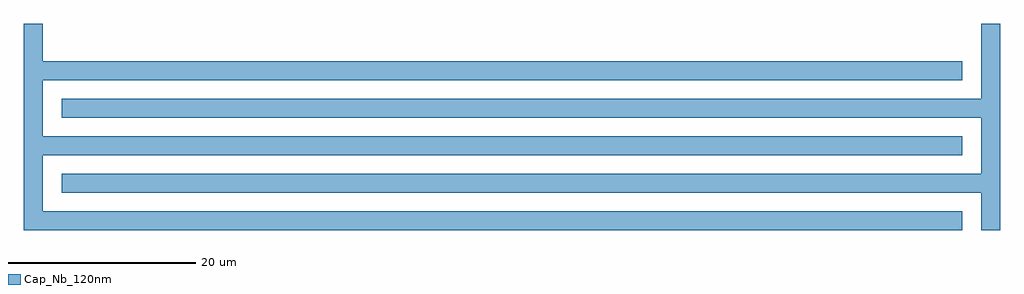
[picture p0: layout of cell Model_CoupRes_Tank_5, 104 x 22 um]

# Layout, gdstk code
import gdstk
lib = gdstk.Library(unit=1e-6, precision=1e-09)
def R(c, l, rs):  # rectangles x0, y0, x1, y1
    for r in rs: c.add(gdstk.rectangle(r[:2], r[2:], *l))
def A(c, l, x, y, w, h, nx, ny, dx, dy):  # array of equal rectangles
    R(c, l, [(x+i*dx, y+j*dy, x+i*dx+w, y+j*dy+h) for i in range(nx) for j in range(ny)])
Cap_Nb_120nm = (6, 0)

model_coupres_tank_5 = lib.new_cell('Model_CoupRes_Tank_5')
A(model_coupres_tank_5, Cap_Nb_120nm, 0, 0, 98, 2, 1, 3, 0, 8)
R(model_coupres_tank_5, Cap_Nb_120nm, [(-2,0,0,22), (100,0,102,22), (2,4,100,6), (2,12,100,14)])

lib.write_gds('Model_CoupRes_Tank_5.gds')
